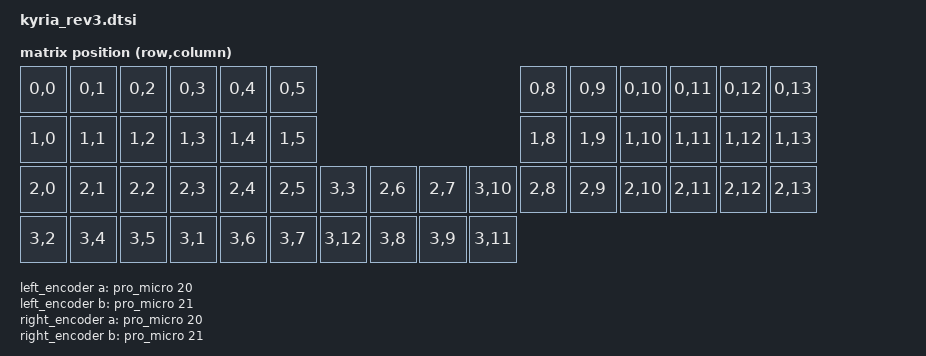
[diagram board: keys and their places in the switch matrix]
/*
 * Copyright (c) 2022 The ZMK Contributors
 *
 * SPDX-License-Identifier: MIT
 */

#include "kyria_common.dtsi"

/ {
    chosen {
        zmk,matrix-transform = &default_transform;
    };

    default_transform: keymap_transform_0 {
        compatible = "zmk,matrix-transform";
        columns = <14>;
        rows = <4>;
        // | MX6  | MX5  | MX4  | MX3  | MX2  | MX1  |                               | MX1  | MX2  | MX3  | MX4  | MX5  | MX6  |
        // | MX12 | MX11 | MX10 | MX9  | MX8  | MX7  |                               | MX7  | MX8  | MX9  | MX10 | MX11 | MX12 |
        // | MX20 | MX19 | MX18 | MX17 | MX16 | MX15 | MX14 | MX13 |   | MX13 | MX14 | MX15 | MX16 | MX17 | MX18 | MX19 | MX20 |
        //                    | MX25 | MX24 | MX23 | MX22 | MX21 |       | MX21 | MX22 | MX23 | MX24 | MX25 |
        map = <
        RC(0,0) RC(0,1) RC(0,2) RC(0,3) RC(0,4) RC(0,5)                                  RC(0,8) RC(0,9) RC(0,10) RC(0,11) RC(0,12) RC(0,13)
        RC(1,0) RC(1,1) RC(1,2) RC(1,3) RC(1,4) RC(1,5)                                  RC(1,8) RC(1,9) RC(1,10) RC(1,11) RC(1,12) RC(1,13)
        RC(2,0) RC(2,1) RC(2,2) RC(2,3) RC(2,4) RC(2,5) RC(3,3) RC(2,6) RC(2,7) RC(3,10) RC(2,8) RC(2,9) RC(2,10) RC(2,11) RC(2,12) RC(2,13)
        RC(3,2) RC(3,4) RC(3,5) RC(3,1) RC(3,6) RC(3,7) RC(3,12) RC(3,8) RC(3,9) RC(3,11)
        >;
    };
};

&left_encoder {
    a-gpios = <&pro_micro 20 (GPIO_ACTIVE_HIGH | GPIO_PULL_UP)>;
    b-gpios = <&pro_micro 21 (GPIO_ACTIVE_HIGH | GPIO_PULL_UP)>;
};

&right_encoder {
    a-gpios = <&pro_micro 20 (GPIO_ACTIVE_HIGH | GPIO_PULL_UP)>;
    b-gpios = <&pro_micro 21 (GPIO_ACTIVE_HIGH | GPIO_PULL_UP)>;
};
